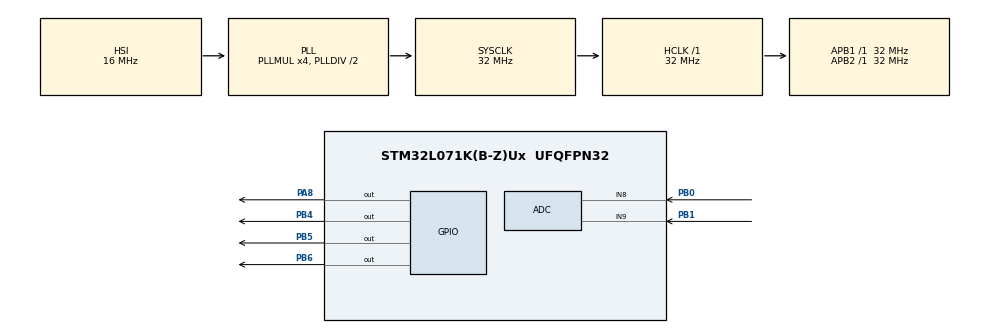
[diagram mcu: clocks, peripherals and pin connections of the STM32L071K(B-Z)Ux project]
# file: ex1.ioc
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ADC.ClockPrescaler=ADC_CLOCK_SYNC_PCLK_DIV2
ADC.DiscontinuousConvMode=ENABLE
Mcu.Family=STM32L0
Mcu.Name=STM32L071K(B-Z)Ux
Mcu.Package=UFQFPN32
PA13.Mode=Serial_Wire
PA13.Signal=SYS_SWDIO
PA14.Mode=Serial_Wire
PA14.Signal=SYS_SWCLK
PA8.Signal=GPIO_Output
PB0.Mode=IN8
PB0.Signal=ADC_IN8
PB1.Mode=IN9
PB1.Signal=ADC_IN9
PB4.Signal=GPIO_Output
PB5.Signal=GPIO_Output
PB6.Signal=GPIO_Output
ProjectManager.HeapSize=0x200
ProjectManager.StackSize=0x400
ProjectManager.TargetToolchain=MDK-ARM V5
RCC.AHBFreq_Value=32000000
RCC.APB1Freq_Value=32000000
RCC.APB1TimFreq_Value=32000000
RCC.APB2Freq_Value=32000000
RCC.APB2TimFreq_Value=32000000
RCC.HCLKFreq_Value=32000000
RCC.HSI16_VALUE=16000000
RCC.HSI_VALUE=16000000
RCC.LSE_VALUE=32768
RCC.MSI_VALUE=2097000
RCC.PLLMUL=RCC_PLLMUL_4
RCC.SYSCLKFreq_VALUE=32000000
RCC.SYSCLKSource=RCC_SYSCLKSOURCE_PLLCLK
RCC.VCOOutputFreq_Value=64000000
board=custom

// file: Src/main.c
/* USER CODE BEGIN Header */
/**
  ******************************************************************************
  * @file           : main.c
  * @brief          : Main program body
  ******************************************************************************
  * @attention
  *
  * <h2><center>&copy; Copyright (c) 2019 STMicroelectronics.
  * All rights reserved.</center></h2>
  *
  * This software component is licensed by ST under BSD 3-Clause license,
  * the "License"; You may not use this file except in compliance with the
  * License. You may obtain a copy of the License at:
  *                        opensource.org/licenses/BSD-3-Clause
  *
  ******************************************************************************
  */
/* USER CODE END Header */

#include "main.h"
#include "adc.h"
#include "gpio.h"
#include "stm32l0xx_hal.h"
#include "zm4xx_gpio.h"
#include "spi.h"
#include "timer.h"
#include "stddef.h"
#include "sx127x_lora.h"

void SystemClock_Config(void);
/* USER CODE BEGIN PFP */
#define FREQ  (433000000)
void SystemClock_Config(void);
void Hardware_Init(void);
radio_handle_t  handle;
/* USER CODE END PFP */

/* USER CODE BEGIN 0 */
void Task_BrdInit(void)
{
    HAL_GPIO_WritePin(GPIOC, GPIO_PIN_15, GPIO_PIN_SET);

    OLED_PowerControl(ENABLE);

    HAL_Delay(200);
    OLED_Init();
    OLED_Clear();

    OLED_ShowString(0, 0, (unsigned char *)"                ", 16);
    OLED_ShowString(0, 2, (unsigned char *)"                ", 16);
}
void LoRa_Init(void)
{

	handle = radio_zm4xx_inst_init(spi_recv_byte,spi_send_byte,zm4xx_rst_pin_set,zm4xx_sel_pin_set,delay_ms,delay_us);

	if(handle != NULL){
		if(RADIO_RET_OK == radio_freq_set(handle, FREQ)){
				HAL_GPIO_WritePin(GPIOC, GPIO_PIN_15,GPIO_PIN_RESET);
		}

		radio_mode_set(handle, RX_MODE);	//Receive Mode
	}
}
/* USER CODE END 0 */

int main(void)
{
  /* USER CODE BEGIN 1 */
	  int ret = RADIO_RET_OK;
    uint16_t len = 0;
		uint8_t rx[264] ;
		uint8_t tx = 0x55;
		uint8_t cntr = 0;
    char lcdLine_1st_line[16];
    char lcdLine_2st_line[16];
		int i;
		float ad[2];
		char *adc;

  /* USER CODE END 1 */

  /* MCU Configuration--------------------------------------------------------*/

  /* Reset of all peripherals, Initializes the Flash interface and the Systick. */
  HAL_Init();

  /* Configure the system clock */
  SystemClock_Config();

  /* Initialize all configured peripherals */
  MX_GPIO_Init();
  MX_ADC_Init();
  /* USER CODE BEGIN 2 */
    Task_BrdInit();
		zm4xx_pin_init(); //LORA��Ҫ
    spi_init();//LORA��Ҫ
		LoRa_Init();
  /* USER CODE END 2 */

  /* Infinite loop */
    while (1)
    {

    /* USER CODE BEGIN 3 */
			for(i=0;i<=1;i++)
			{
				HAL_ADC_Start(&hadc);
				HAL_ADC_PollForConversion(&hadc,100);
				ad[i]=HAL_ADC_GetValue(&hadc)*(3.3/4095);
			}

			sprintf(lcdLine_1st_line, "%.2f",ad[0]);
			sprintf(lcdLine_2st_line, "%.2f",ad[1]);

			OLED_ShowString(0, 0, (unsigned char *)lcdLine_1st_line, 16);
			OLED_ShowString(64, 0, (unsigned char *)lcdLine_2st_line, 16);

			adc=strcat(lcdLine_1st_line,lcdLine_2st_line);
			i=sizeof(lcdLine_1st_line);
			radio_buf_send(handle, (unsigned char *)adc, 8);
			radio_mode_set(handle, RX_MODE);

			ret = radio_buf_recv(handle, rx, &len);
			i=5000;
			while((i--)&&(ret != RADIO_RET_OK))
				ret = radio_buf_recv(handle, rx, &len);
			if(ret == RADIO_RET_OK)
			{
				for(i=0;i<=len;i++)
				{
					OLED_ShowChar(8*i, 2, *(rx + i), 16);
				}
			}
    }
  /* USER CODE END 3 */
}

//			ret = radio_buf_recv(handle, &rx, &len);
//			if(ret == RADIO_RET_OK){
//				if(rx == 0xAA){
//						HAL_GPIO_TogglePin(GPIOC, GPIO_PIN_15);
//				}
//			}
//
//			if(++cntr == 40){
//				radio_buf_send(handle, &tx, 1); 	//
//				radio_mode_set(handle, RX_MODE);
//				cntr = 0;
//			}
//
//		  HAL_Delay(2);

void SystemClock_Config(void)
{
  RCC_OscInitTypeDef RCC_OscInitStruct = {0};
  RCC_ClkInitTypeDef RCC_ClkInitStruct = {0};

  /** Configure the main internal regulator output voltage
  */
  __HAL_PWR_VOLTAGESCALING_CONFIG(PWR_REGULATOR_VOLTAGE_SCALE1);
  /** Initializes the CPU, AHB and APB busses clocks
  */
  RCC_OscInitStruct.OscillatorType = RCC_OSCILLATORTYPE_HSI;
  RCC_OscInitStruct.HSIState = RCC_HSI_ON;
  RCC_OscInitStruct.HSICalibrationValue = RCC_HSICALIBRATION_DEFAULT;
  RCC_OscInitStruct.PLL.PLLState = RCC_PLL_ON;
  RCC_OscInitStruct.PLL.PLLSource = RCC_PLLSOURCE_HSI;
  RCC_OscInitStruct.PLL.PLLMUL = RCC_PLLMUL_4;
  RCC_OscInitStruct.PLL.PLLDIV = RCC_PLLDIV_2;
  if (HAL_RCC_OscConfig(&RCC_OscInitStruct) != HAL_OK)
  {
    Error_Handler();
  }
  /** Initializes the CPU, AHB and APB busses clocks
  */
  RCC_ClkInitStruct.ClockType = RCC_CLOCKTYPE_HCLK|RCC_CLOCKTYPE_SYSCLK
                              |RCC_CLOCKTYPE_PCLK1|RCC_CLOCKTYPE_PCLK2;
  RCC_ClkInitStruct.SYSCLKSource = RCC_SYSCLKSOURCE_PLLCLK;
  RCC_ClkInitStruct.AHBCLKDivider = RCC_SYSCLK_DIV1;
  RCC_ClkInitStruct.APB1CLKDivider = RCC_HCLK_DIV1;
  RCC_ClkInitStruct.APB2CLKDivider = RCC_HCLK_DIV1;

  if (HAL_RCC_ClockConfig(&RCC_ClkInitStruct, FLASH_LATENCY_1) != HAL_OK)
  {
    Error_Handler();
  }
}

void Error_Handler(void)
{
}

/************************ (C) COPYRIGHT STMicroelectronics *****END OF FILE****/
